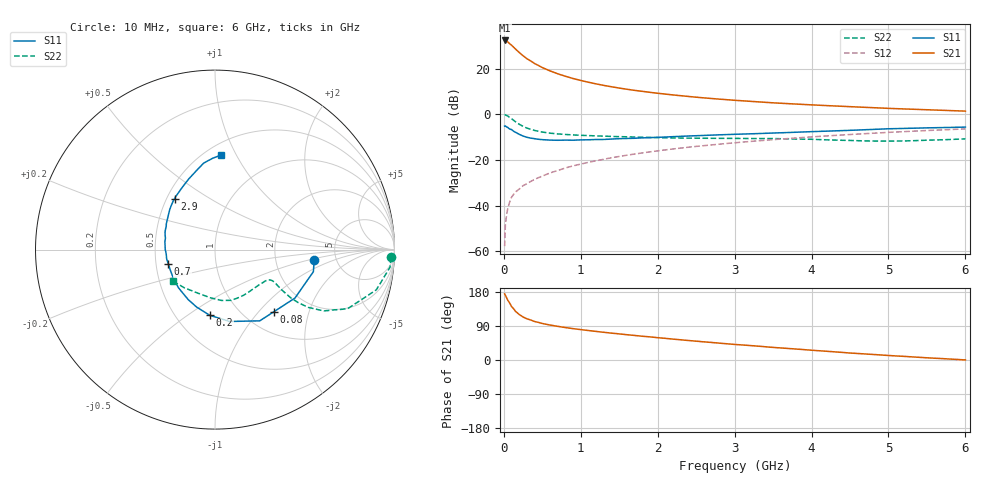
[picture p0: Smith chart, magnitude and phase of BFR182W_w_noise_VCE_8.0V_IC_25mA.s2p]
! Infineon Technologies  Discrete & RF Semiconductors
! BFR182W
! VCE =  8.0 V,  IC =  25 mA
! Common Emitter S-Parameters:  Jan 2017
# GHz  S  MA  R  50
!  f  S11  S21  S12  S22
! GHz  MAG  ANG  MAG  ANG  MAG  ANG  MAG  ANG
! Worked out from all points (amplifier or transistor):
!   77 points, 10 MHz to 6 GHz, reference 50 ohm
!   highest |S21| = 32.4 dB at 10 MHz (marker M1)
!   |S21| within 3 dB of that: start of sweep to 128.5 MHz
!   unconditionally stable (mu >= 1): 808 MHz to 2.301 GHz
!   at 130 MHz: K = 0.46, MSG = 32.1 dB, |S12| = -34.9 dB
!   at 2.2 GHz: K = 1.01, MAG = 11.3 dB, |S12| = -15.1 dB
!   at 6 GHz: K = 0.86, MSG = 3.9 dB, |S12| = -6.3 dB
!   lowest NFmin = 1.56 dB at 450 MHz
!   S11 on the Smith chart (normalised r, x): 10 MHz: 3.39, -0.58; 80 MHz: 1.35, -1.21; 200 MHz: 0.73, -0.61; 700 MHz: 0.58, -0.10; 2.9 GHz: 0.55, +0.36; 6 GHz: 0.60, +0.87
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0.01  0.5557 -6.1  41.85 174.5  0.0013 79.2  0.9813 -2.5
0.02  0.5618 -12.7  41.6 170.6  0.0037 90.3  0.9799 -5.8
0.05  0.521 -31.2  38.97 158.2  0.0085 79.5  0.9263 -14.0
0.08  0.4767 -46.6  35.03 148.7  0.0126 74.2  0.8528 -19.7
0.1  0.4688 -57.9  33.05 141.2  0.0153 72.3  0.8091 -24.0
0.15  0.4085 -78.5  27.35 128.8  0.0199 66.1  0.6958 -29.4
0.2  0.3674 -94.5  22.79 120.1  0.0232 66.9  0.611 -31.8
0.25  0.3363 -107.7  19.36 113.4  0.0275 65.4  0.5489 -32.5
0.3  0.3162 -118.1  16.68 108.7  0.0304 66.5  0.5026 -32.5
0.4  0.2945 -133.8  13.06 101.5  0.0378 68.2  0.4455 -31.4
0.5  0.2806 -146.0  10.66 96.4  0.0446 69.0  0.4119 -30.3
0.6  0.2742 -155.2  9.019 92.3  0.0523 70.2  0.3897 -29.3
0.7  0.272 -163.1  7.796 88.8  0.0591 71.7  0.3749 -28.6
0.9  0.2729 -174.9  6.132 82.8  0.0747 71.7  0.3561 -28.6
1.1  0.279 175.3  5.079 77.8  0.0894 72.3  0.3444 -29.4
1.5  0.2947 160.8  3.788 68.9  0.1202 71.0  0.3266 -33.3
2.1  0.3203 144.7  2.794 57.1  0.1674 67.5  0.3083 -43.1
2.9  0.3626 128.4  2.106 42.8  0.2314 61.9  0.2992 -60.0
3.1  0.3718 124.7  1.993 39.7  0.2476 60.2  0.2978 -64.2
4.1  0.4256 108.9  1.593 24.4  0.3304 51.8  0.2815 -85.1
5.1  0.4899 96.3  1.341 10.7  0.4126 42.3  0.2613 -115.4
6  0.5283 86.3  1.184 0.2  0.4827 33.3  0.2924 -142.9
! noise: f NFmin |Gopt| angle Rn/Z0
0.45  1.56  0.16  -169  0.15
0.9  1.65  0.17  -163  0.16
1.9  2.18  0.33  -138  0.18
2.4  2.46  0.34  -127  0.29
